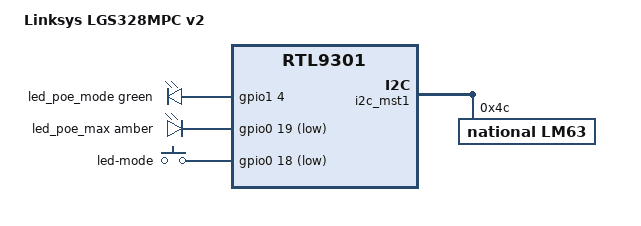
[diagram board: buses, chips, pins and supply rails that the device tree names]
// SPDX-License-Identifier: (GPL-2.0-or-later or MIT)
/dts-v1/;

#include "rtl9301_linksys_lgs328x_nand_common.dtsi"

#include <dt-bindings/input/input.h>
#include <dt-bindings/leds/common.h>

/ {
	compatible = "linksys,lgs328mpc-v2", "realtek,rtl9301-soc";
	model = "Linksys LGS328MPC v2";

	leds {
		compatible = "gpio-leds";

		led_poe_mode: led-poe-mode {
			function = "poe-mode";
			color = <LED_COLOR_ID_GREEN>;
			gpios = <&gpio1 4 GPIO_ACTIVE_HIGH>;
		};

		led_poe_max: led-poe-max {
			function = "poe-max";
			color = <LED_COLOR_ID_AMBER>;
			gpios = <&gpio0 19 GPIO_ACTIVE_LOW>;
		};
	};

	keys {
		compatible = "gpio-keys";

		led-mode {
			label = "led-mode";
			gpios = <&gpio0 18 GPIO_ACTIVE_LOW>;
			linux,code = <BTN_0>;
			debounce-interval = <60>;
		};
	};
};

&i2c_mst1 {
	i2c1: i2c@1 {
		reg = <1>;

		lm63@4c {
			compatible = "national,lm63";
			reg = <0x4c>;
			#thermal-sensor-cells = <1>;
		};
	};
};
